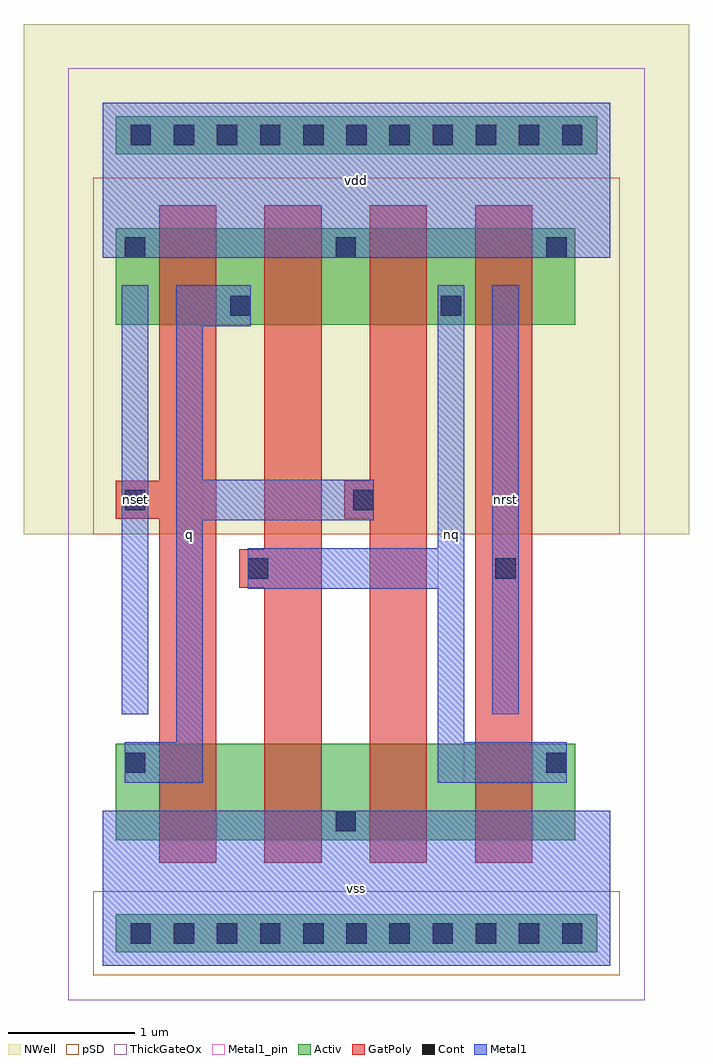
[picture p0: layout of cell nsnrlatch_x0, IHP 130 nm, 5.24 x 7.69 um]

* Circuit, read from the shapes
.subckt nsnrlatch_x0 nq nrst nset q vdd vss
XM1 n1 nset q vss sg13_hv_nmos w=0.76u l=0.45u
XM2 vss nq n1 vss sg13_hv_nmos w=0.76u l=0.45u
XM3 n2 q vss vss sg13_hv_nmos w=0.76u l=0.45u
XM4 nq nrst n2 vss sg13_hv_nmos w=0.76u l=0.45u
XM5 q nset vdd vdd sg13_hv_pmos w=0.76u l=0.45u
XM6 vdd nq q vdd sg13_hv_pmos w=0.76u l=0.45u
XM7 nq q vdd vdd sg13_hv_pmos w=0.76u l=0.45u
XM8 vdd nrst nq vdd sg13_hv_pmos w=0.76u l=0.45u
.ends

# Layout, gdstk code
import gdstk
lib = gdstk.Library(unit=1e-6, precision=1e-09)
def R(c, l, rs):  # rectangles x0, y0, x1, y1
    for r in rs: c.add(gdstk.rectangle(r[:2], r[2:], *l))
def A(c, l, x, y, w, h, nx, ny, dx, dy):  # array of equal rectangles
    R(c, l, [(x+i*dx, y+j*dy, x+i*dx+w, y+j*dy+h) for i in range(nx) for j in range(ny)])
def P(c, l, *ps):  # polygons
    for p in ps: c.add(gdstk.Polygon(p, *l))
Activ = (1, 0)
GatPoly = (5, 0)
Cont = (6, 0)
Metal1 = (8, 0)
Metal1_pin = (8, 2)
pSD = (14, 0)
NWell = (31, 0)
ThickGateOx = (44, 0)

nsnrlatch_x0 = lib.new_cell('nsnrlatch_x0')
R(nsnrlatch_x0, Activ, [(0.105,0.105,3.895,0.405), (0.105,0.99,3.725,1.75), (0.105,5.05,3.725,5.81), (0.105,6.395,3.895,6.695)])
R(nsnrlatch_x0, GatPoly, [(2.935,0.81,3.385,5.99), (1.225,2.98,1.5,3.28), (3.16,2.98,3.175,3.28)])
P(nsnrlatch_x0, GatPoly, [(2.105,0.81),(2.105,3.52),(1.905,3.52),(1.905,3.82),(2.105,3.82),(2.105,5.99),(2.555,5.99),(2.555,0.81)],
  [(0.445,0.81),(0.445,3.52),(0.105,3.52),(0.105,3.82),(0.445,3.82),(0.445,5.99),(0.895,5.99),(0.895,0.81)],
  [(1.275,0.81),(1.275,2.98),(1.075,2.98),(1.075,3.28),(1.275,3.28),(1.275,5.99),(1.725,5.99),(1.725,0.81)])
A(nsnrlatch_x0, Cont, 0.22, 0.175, 0.16, 0.16, 11, 2, 0.34, 6.29)
A(nsnrlatch_x0, Cont, 0.175, 5.58, 0.16, 0.16, 3, 1, 1.66, 0)
R(nsnrlatch_x0, Cont, [(1.835,1.06,1.995,1.22), (0.175,1.52,0.335,1.68), (3.495,1.52,3.655,1.68), (1.145,3.05,1.305,3.21), (3.095,3.05,3.255,3.21), (0.175,3.59,0.335,3.75), (1.975,3.59,2.135,3.75), (1.005,5.12,1.165,5.28), (2.665,5.12,2.825,5.28)])
R(nsnrlatch_x0, Metal1, [(0,0,4,1.22), (0.15,1.98,0.36,5.36), (3.07,1.98,3.28,5.36), (0,5.58,4,6.8)])
P(nsnrlatch_x0, Metal1, [(0.175,1.44),(0.175,1.76),(0.58,1.76),(0.58,5.36),(1.165,5.36),(1.165,5.04),(0.79,5.04),(0.79,3.83),(2.135,3.83),(2.135,3.51),(0.79,3.51),(0.79,1.44)],
  [(2.64,1.44),(2.64,2.97),(1.145,2.97),(1.145,3.29),(2.64,3.29),(2.64,5.36),(2.85,5.36),(2.85,1.76),(3.655,1.76),(3.655,1.44)])
R(nsnrlatch_x0, Metal1_pin, [(0,0,4,1.22), (0.58,1.44,0.79,5.36), (2.64,1.44,2.85,5.36), (0.15,1.98,0.36,5.36), (3.07,1.98,3.28,5.36), (0,5.58,4,6.8)])
R(nsnrlatch_x0, pSD, [(-0.075,-0.075,4.075,0.585), (-0.075,3.4,4.075,6.21)])
R(nsnrlatch_x0, NWell, [(-0.62,3.4,4.62,7.42)])
R(nsnrlatch_x0, ThickGateOx, [(-0.27,-0.27,4.27,7.07)])
nsnrlatch_x0.add(gdstk.Label('q', (0.685,3.4), layer=8, texttype=2))
nsnrlatch_x0.add(gdstk.Label('vdd', (2,6.19), layer=8, texttype=2))
nsnrlatch_x0.add(gdstk.Label('vss', (2,0.61), layer=8, texttype=2))
nsnrlatch_x0.add(gdstk.Label('nset', (0.255,3.67), layer=8, texttype=2))
nsnrlatch_x0.add(gdstk.Label('nq', (2.745,3.4), layer=8, texttype=2))
nsnrlatch_x0.add(gdstk.Label('nrst', (3.175,3.67), layer=8, texttype=2))

lib.write_gds('nsnrlatch_x0.gds')
